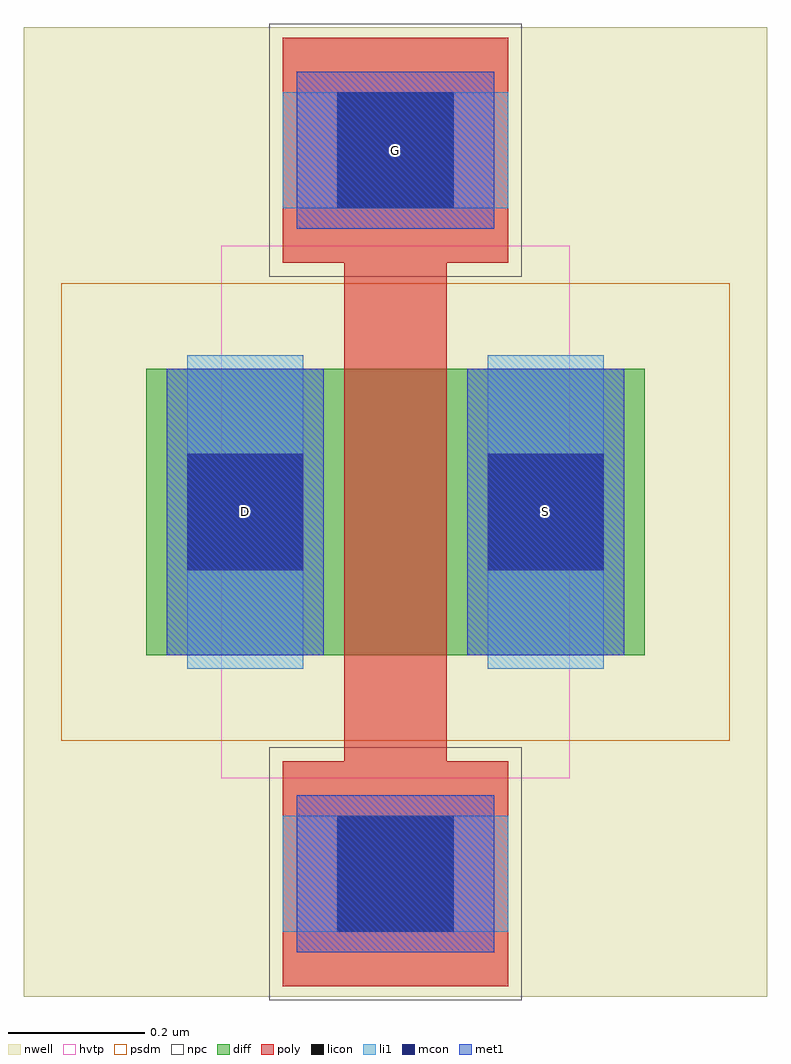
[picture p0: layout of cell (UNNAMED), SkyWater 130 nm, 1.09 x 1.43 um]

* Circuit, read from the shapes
.subckt (UNNAMED) D G S
XM1 S G D n1 sky130_fd_pr__pfet_01v8_hvt w=0.42 l=0.15
.ends

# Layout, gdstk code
import gdstk
lib = gdstk.Library(unit=1e-6, precision=1e-09)
def R(c, l, rs):  # rectangles x0, y0, x1, y1
    for r in rs: c.add(gdstk.rectangle(r[:2], r[2:], *l))
nwell = (64, 20)
diff = (65, 20)
poly = (66, 20)
licon = (66, 44)
li1 = (67, 20)
mcon = (67, 44)
met1 = (68, 20)
hvtp = (78, 44)
psdm = (94, 20)
npc = (95, 20)

c__unnamed_ = lib.new_cell('(UNNAMED)')
R(c__unnamed_, nwell, [(-0.545,-0.71,0.545,0.71)])
R(c__unnamed_, diff, [(-0.365,-0.21,0.365,0.21)])
R(c__unnamed_, poly, [(-0.165,-0.695,0.165,-0.365), (-0.075,-0.365,0.075,0.365), (-0.165,0.365,0.165,0.695)])
R(c__unnamed_, licon, [(-0.085,-0.615,0.085,-0.445), (-0.305,-0.085,-0.135,0.085), (0.135,-0.085,0.305,0.085), (-0.085,0.445,0.085,0.615)])
R(c__unnamed_, li1, [(-0.165,-0.615,0.165,-0.445), (-0.305,-0.23,-0.135,0.23), (0.135,-0.23,0.305,0.23), (-0.165,0.445,0.165,0.615)])
R(c__unnamed_, mcon, [(-0.085,-0.615,0.085,-0.445), (-0.305,-0.085,-0.135,0.085), (0.135,-0.085,0.305,0.085), (-0.085,0.445,0.085,0.615)])
R(c__unnamed_, met1, [(-0.145,-0.645,0.145,-0.415), (-0.335,-0.21,-0.105,0.21), (0.105,-0.21,0.335,0.21), (-0.145,0.415,0.145,0.645)])
R(c__unnamed_, hvtp, [(-0.255,-0.39,0.255,0.39)])
R(c__unnamed_, psdm, [(-0.49,-0.335,0.49,0.335)])
R(c__unnamed_, npc, [(-0.185,-0.715,0.185,-0.345), (-0.185,0.345,0.185,0.715)])
c__unnamed_.add(gdstk.Label('D', (-0.22,0), layer=67, texttype=5))
c__unnamed_.add(gdstk.Label('S', (0.22,0), layer=67, texttype=5))
c__unnamed_.add(gdstk.Label('G', (0,0.53), layer=67, texttype=5))

lib.write_gds('_UNNAMED_.gds')
